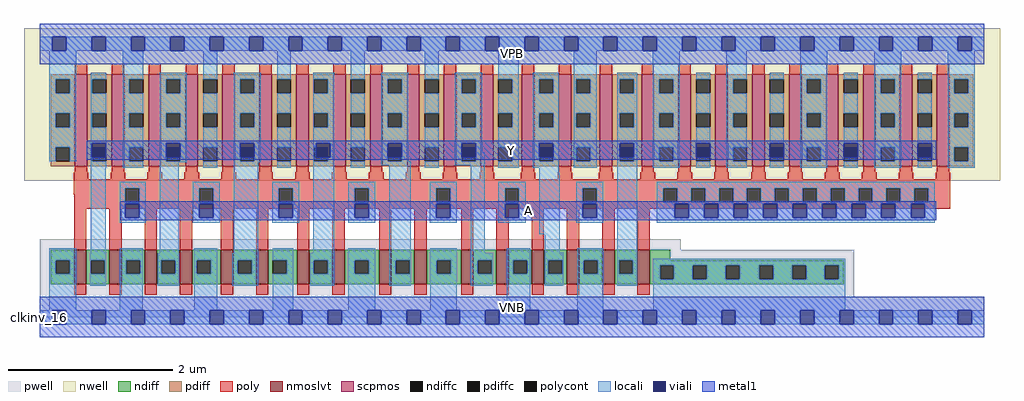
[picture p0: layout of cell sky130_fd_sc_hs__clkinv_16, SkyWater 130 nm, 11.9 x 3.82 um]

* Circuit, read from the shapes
.subckt sky130_fd_sc_hs__clkinv_16 A VGND VNB VPB VPWR Y
XM1 Y A VGND VNB sky130_fd_pr__nfet_01v8_lvt w=0.42 l=0.15 m=16
XM2 Y A VPWR VPB sky130_fd_pr__pfet_01v8 w=1.12 l=0.15 m=24
.ends

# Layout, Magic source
magic
tech sky130A
magscale 1 2
<< nwell >>
rect -38 332 2342 704
<< pwell >>
rect 1 164 1564 190
rect 1 49 1987 164
rect 0 0 2304 49
<< scpmos >>
rect 86 368 116 592
rect 176 368 206 592
rect 266 368 296 592
rect 356 368 386 592
rect 446 368 476 592
rect 536 368 566 592
rect 626 368 656 592
rect 716 368 746 592
rect 806 368 836 592
rect 896 368 926 592
rect 986 368 1016 592
rect 1076 368 1106 592
rect 1176 368 1206 592
rect 1266 368 1296 592
rect 1366 368 1396 592
rect 1468 368 1498 592
rect 1558 368 1588 592
rect 1648 368 1678 592
rect 1738 368 1768 592
rect 1828 368 1858 592
rect 1918 368 1948 592
rect 2008 368 2038 592
rect 2098 368 2128 592
rect 2188 368 2218 592
<< nmoslvt >>
rect 84 80 114 164
rect 170 80 200 164
rect 256 80 286 164
rect 342 80 372 164
rect 442 80 472 164
rect 528 80 558 164
rect 628 80 658 164
rect 714 80 744 164
rect 828 80 858 164
rect 914 80 944 164
rect 1028 80 1058 164
rect 1114 80 1144 164
rect 1200 80 1230 164
rect 1286 80 1316 164
rect 1372 80 1402 164
rect 1458 80 1488 164
<< ndiff >>
rect 27 139 84 164
rect 27 105 39 139
rect 73 105 84 139
rect 27 80 84 105
rect 114 139 170 164
rect 114 105 125 139
rect 159 105 170 139
rect 114 80 170 105
rect 200 139 256 164
rect 200 105 211 139
rect 245 105 256 139
rect 200 80 256 105
rect 286 139 342 164
rect 286 105 297 139
rect 331 105 342 139
rect 286 80 342 105
rect 372 139 442 164
rect 372 105 383 139
rect 417 105 442 139
rect 372 80 442 105
rect 472 139 528 164
rect 472 105 483 139
rect 517 105 528 139
rect 472 80 528 105
rect 558 139 628 164
rect 558 105 569 139
rect 603 105 628 139
rect 558 80 628 105
rect 658 139 714 164
rect 658 105 669 139
rect 703 105 714 139
rect 658 80 714 105
rect 744 139 828 164
rect 744 105 769 139
rect 803 105 828 139
rect 744 80 828 105
rect 858 139 914 164
rect 858 105 869 139
rect 903 105 914 139
rect 858 80 914 105
rect 944 139 1028 164
rect 944 105 969 139
rect 1003 105 1028 139
rect 944 80 1028 105
rect 1058 139 1114 164
rect 1058 105 1069 139
rect 1103 105 1114 139
rect 1058 80 1114 105
rect 1144 139 1200 164
rect 1144 105 1155 139
rect 1189 105 1200 139
rect 1144 80 1200 105
rect 1230 139 1286 164
rect 1230 105 1241 139
rect 1275 105 1286 139
rect 1230 80 1286 105
rect 1316 139 1372 164
rect 1316 105 1327 139
rect 1361 105 1372 139
rect 1316 80 1372 105
rect 1402 139 1458 164
rect 1402 105 1413 139
rect 1447 105 1458 139
rect 1402 80 1458 105
rect 1488 138 1538 164
rect 1488 126 1961 138
rect 1488 92 1513 126
rect 1547 92 1593 126
rect 1627 92 1673 126
rect 1707 92 1755 126
rect 1789 92 1835 126
rect 1869 92 1915 126
rect 1949 92 1961 126
rect 1488 80 1961 92
<< pdiff >>
rect 27 580 86 592
rect 27 546 39 580
rect 73 546 86 580
rect 27 497 86 546
rect 27 463 39 497
rect 73 463 86 497
rect 27 414 86 463
rect 27 380 39 414
rect 73 380 86 414
rect 27 368 86 380
rect 116 580 176 592
rect 116 546 129 580
rect 163 546 176 580
rect 116 497 176 546
rect 116 463 129 497
rect 163 463 176 497
rect 116 414 176 463
rect 116 380 129 414
rect 163 380 176 414
rect 116 368 176 380
rect 206 580 266 592
rect 206 546 219 580
rect 253 546 266 580
rect 206 497 266 546
rect 206 463 219 497
rect 253 463 266 497
rect 206 414 266 463
rect 206 380 219 414
rect 253 380 266 414
rect 206 368 266 380
rect 296 580 356 592
rect 296 546 309 580
rect 343 546 356 580
rect 296 497 356 546
rect 296 463 309 497
rect 343 463 356 497
rect 296 414 356 463
rect 296 380 309 414
rect 343 380 356 414
rect 296 368 356 380
rect 386 580 446 592
rect 386 546 399 580
rect 433 546 446 580
rect 386 497 446 546
rect 386 463 399 497
rect 433 463 446 497
rect 386 414 446 463
rect 386 380 399 414
rect 433 380 446 414
rect 386 368 446 380
rect 476 580 536 592
rect 476 546 489 580
rect 523 546 536 580
rect 476 497 536 546
rect 476 463 489 497
rect 523 463 536 497
rect 476 414 536 463
rect 476 380 489 414
rect 523 380 536 414
rect 476 368 536 380
rect 566 580 626 592
rect 566 546 579 580
rect 613 546 626 580
rect 566 497 626 546
rect 566 463 579 497
rect 613 463 626 497
rect 566 414 626 463
rect 566 380 579 414
rect 613 380 626 414
rect 566 368 626 380
rect 656 580 716 592
rect 656 546 669 580
rect 703 546 716 580
rect 656 497 716 546
rect 656 463 669 497
rect 703 463 716 497
rect 656 414 716 463
rect 656 380 669 414
rect 703 380 716 414
rect 656 368 716 380
rect 746 580 806 592
rect 746 546 759 580
rect 793 546 806 580
rect 746 497 806 546
rect 746 463 759 497
rect 793 463 806 497
rect 746 414 806 463
rect 746 380 759 414
rect 793 380 806 414
rect 746 368 806 380
rect 836 580 896 592
rect 836 546 849 580
rect 883 546 896 580
rect 836 497 896 546
rect 836 463 849 497
rect 883 463 896 497
rect 836 414 896 463
rect 836 380 849 414
rect 883 380 896 414
rect 836 368 896 380
rect 926 580 986 592
rect 926 546 939 580
rect 973 546 986 580
rect 926 497 986 546
rect 926 463 939 497
rect 973 463 986 497
rect 926 414 986 463
rect 926 380 939 414
rect 973 380 986 414
rect 926 368 986 380
rect 1016 580 1076 592
rect 1016 546 1029 580
rect 1063 546 1076 580
rect 1016 497 1076 546
rect 1016 463 1029 497
rect 1063 463 1076 497
rect 1016 414 1076 463
rect 1016 380 1029 414
rect 1063 380 1076 414
rect 1016 368 1076 380
rect 1106 580 1176 592
rect 1106 546 1119 580
rect 1153 546 1176 580
rect 1106 497 1176 546
rect 1106 463 1119 497
rect 1153 463 1176 497
rect 1106 414 1176 463
rect 1106 380 1119 414
rect 1153 380 1176 414
rect 1106 368 1176 380
rect 1206 580 1266 592
rect 1206 546 1219 580
rect 1253 546 1266 580
rect 1206 497 1266 546
rect 1206 463 1219 497
rect 1253 463 1266 497
rect 1206 414 1266 463
rect 1206 380 1219 414
rect 1253 380 1266 414
rect 1206 368 1266 380
rect 1296 580 1366 592
rect 1296 546 1309 580
rect 1343 546 1366 580
rect 1296 497 1366 546
rect 1296 463 1309 497
rect 1343 463 1366 497
rect 1296 414 1366 463
rect 1296 380 1309 414
rect 1343 380 1366 414
rect 1296 368 1366 380
rect 1396 580 1468 592
rect 1396 546 1415 580
rect 1449 546 1468 580
rect 1396 497 1468 546
rect 1396 463 1415 497
rect 1449 463 1468 497
rect 1396 414 1468 463
rect 1396 380 1415 414
rect 1449 380 1468 414
rect 1396 368 1468 380
rect 1498 580 1558 592
rect 1498 546 1511 580
rect 1545 546 1558 580
rect 1498 497 1558 546
rect 1498 463 1511 497
rect 1545 463 1558 497
rect 1498 414 1558 463
rect 1498 380 1511 414
rect 1545 380 1558 414
rect 1498 368 1558 380
rect 1588 580 1648 592
rect 1588 546 1601 580
rect 1635 546 1648 580
rect 1588 497 1648 546
rect 1588 463 1601 497
rect 1635 463 1648 497
rect 1588 414 1648 463
rect 1588 380 1601 414
rect 1635 380 1648 414
rect 1588 368 1648 380
rect 1678 580 1738 592
rect 1678 546 1691 580
rect 1725 546 1738 580
rect 1678 497 1738 546
rect 1678 463 1691 497
rect 1725 463 1738 497
rect 1678 414 1738 463
rect 1678 380 1691 414
rect 1725 380 1738 414
rect 1678 368 1738 380
rect 1768 580 1828 592
rect 1768 546 1781 580
rect 1815 546 1828 580
rect 1768 497 1828 546
rect 1768 463 1781 497
rect 1815 463 1828 497
rect 1768 414 1828 463
rect 1768 380 1781 414
rect 1815 380 1828 414
rect 1768 368 1828 380
rect 1858 580 1918 592
rect 1858 546 1871 580
rect 1905 546 1918 580
rect 1858 497 1918 546
rect 1858 463 1871 497
rect 1905 463 1918 497
rect 1858 414 1918 463
rect 1858 380 1871 414
rect 1905 380 1918 414
rect 1858 368 1918 380
rect 1948 580 2008 592
rect 1948 546 1961 580
rect 1995 546 2008 580
rect 1948 497 2008 546
rect 1948 463 1961 497
rect 1995 463 2008 497
rect 1948 414 2008 463
rect 1948 380 1961 414
rect 1995 380 2008 414
rect 1948 368 2008 380
rect 2038 580 2098 592
rect 2038 546 2051 580
rect 2085 546 2098 580
rect 2038 497 2098 546
rect 2038 463 2051 497
rect 2085 463 2098 497
rect 2038 414 2098 463
rect 2038 380 2051 414
rect 2085 380 2098 414
rect 2038 368 2098 380
rect 2128 580 2188 592
rect 2128 546 2141 580
rect 2175 546 2188 580
rect 2128 497 2188 546
rect 2128 463 2141 497
rect 2175 463 2188 497
rect 2128 414 2188 463
rect 2128 380 2141 414
rect 2175 380 2188 414
rect 2128 368 2188 380
rect 2218 580 2277 592
rect 2218 546 2231 580
rect 2265 546 2277 580
rect 2218 497 2277 546
rect 2218 463 2231 497
rect 2265 463 2277 497
rect 2218 414 2277 463
rect 2218 380 2231 414
rect 2265 380 2277 414
rect 2218 368 2277 380
<< ndiffc >>
rect 39 105 73 139
rect 125 105 159 139
rect 211 105 245 139
rect 297 105 331 139
rect 383 105 417 139
rect 483 105 517 139
rect 569 105 603 139
rect 669 105 703 139
rect 769 105 803 139
rect 869 105 903 139
rect 969 105 1003 139
rect 1069 105 1103 139
rect 1155 105 1189 139
rect 1241 105 1275 139
rect 1327 105 1361 139
rect 1413 105 1447 139
rect 1513 92 1547 126
rect 1593 92 1627 126
rect 1673 92 1707 126
rect 1755 92 1789 126
rect 1835 92 1869 126
rect 1915 92 1949 126
<< pdiffc >>
rect 39 546 73 580
rect 39 463 73 497
rect 39 380 73 414
rect 129 546 163 580
rect 129 463 163 497
rect 129 380 163 414
rect 219 546 253 580
rect 219 463 253 497
rect 219 380 253 414
rect 309 546 343 580
rect 309 463 343 497
rect 309 380 343 414
rect 399 546 433 580
rect 399 463 433 497
rect 399 380 433 414
rect 489 546 523 580
rect 489 463 523 497
rect 489 380 523 414
rect 579 546 613 580
rect 579 463 613 497
rect 579 380 613 414
rect 669 546 703 580
rect 669 463 703 497
rect 669 380 703 414
rect 759 546 793 580
rect 759 463 793 497
rect 759 380 793 414
rect 849 546 883 580
rect 849 463 883 497
rect 849 380 883 414
rect 939 546 973 580
rect 939 463 973 497
rect 939 380 973 414
rect 1029 546 1063 580
rect 1029 463 1063 497
rect 1029 380 1063 414
rect 1119 546 1153 580
rect 1119 463 1153 497
rect 1119 380 1153 414
rect 1219 546 1253 580
rect 1219 463 1253 497
rect 1219 380 1253 414
rect 1309 546 1343 580
rect 1309 463 1343 497
rect 1309 380 1343 414
rect 1415 546 1449 580
rect 1415 463 1449 497
rect 1415 380 1449 414
rect 1511 546 1545 580
rect 1511 463 1545 497
rect 1511 380 1545 414
rect 1601 546 1635 580
rect 1601 463 1635 497
rect 1601 380 1635 414
rect 1691 546 1725 580
rect 1691 463 1725 497
rect 1691 380 1725 414
rect 1781 546 1815 580
rect 1781 463 1815 497
rect 1781 380 1815 414
rect 1871 546 1905 580
rect 1871 463 1905 497
rect 1871 380 1905 414
rect 1961 546 1995 580
rect 1961 463 1995 497
rect 1961 380 1995 414
rect 2051 546 2085 580
rect 2051 463 2085 497
rect 2051 380 2085 414
rect 2141 546 2175 580
rect 2141 463 2175 497
rect 2141 380 2175 414
rect 2231 546 2265 580
rect 2231 463 2265 497
rect 2231 380 2265 414
<< poly >>
rect 86 592 116 618
rect 176 592 206 618
rect 266 592 296 618
rect 356 592 386 618
rect 446 592 476 618
rect 536 592 566 618
rect 626 592 656 618
rect 716 592 746 618
rect 806 592 836 618
rect 896 592 926 618
rect 986 592 1016 618
rect 1076 592 1106 618
rect 1176 592 1206 618
rect 1266 592 1296 618
rect 1366 592 1396 618
rect 1468 592 1498 618
rect 1558 592 1588 618
rect 1648 592 1678 618
rect 1738 592 1768 618
rect 1828 592 1858 618
rect 1918 592 1948 618
rect 2008 592 2038 618
rect 2098 592 2128 618
rect 2188 592 2218 618
rect 86 353 116 368
rect 176 353 206 368
rect 266 353 296 368
rect 356 353 386 368
rect 446 353 476 368
rect 536 353 566 368
rect 626 353 656 368
rect 716 353 746 368
rect 806 353 836 368
rect 896 353 926 368
rect 986 353 1016 368
rect 1076 353 1106 368
rect 1176 353 1206 368
rect 1266 353 1296 368
rect 1366 353 1396 368
rect 1468 353 1498 368
rect 1558 353 1588 368
rect 1648 353 1678 368
rect 1738 353 1768 368
rect 1828 353 1858 368
rect 1918 353 1948 368
rect 2008 353 2038 368
rect 2098 353 2128 368
rect 2188 353 2218 368
rect 83 336 119 353
rect 173 336 209 353
rect 263 336 299 353
rect 353 336 389 353
rect 443 336 479 353
rect 533 336 569 353
rect 623 336 659 353
rect 713 336 749 353
rect 803 336 839 353
rect 893 336 929 353
rect 983 336 1019 353
rect 1073 336 1109 353
rect 1173 336 1209 353
rect 1263 336 1299 353
rect 1363 336 1399 353
rect 1465 336 1501 353
rect 1555 336 1591 353
rect 1645 336 1681 353
rect 1735 336 1771 353
rect 1825 336 1861 353
rect 1915 336 1951 353
rect 2005 336 2041 353
rect 2095 336 2131 353
rect 2185 336 2221 353
rect 83 314 2221 336
rect 83 300 209 314
rect 84 280 209 300
rect 243 280 389 314
rect 423 280 583 314
rect 617 280 769 314
rect 803 280 967 314
rect 1001 280 1135 314
rect 1169 280 1325 314
rect 1359 280 1521 314
rect 1555 280 1589 314
rect 1623 280 1657 314
rect 1691 280 1725 314
rect 1759 280 1793 314
rect 1827 280 1861 314
rect 1895 280 1929 314
rect 1963 280 1997 314
rect 2031 280 2065 314
rect 2099 280 2133 314
rect 2167 280 2221 314
rect 84 264 2221 280
rect 84 164 114 264
rect 170 164 200 264
rect 256 164 286 264
rect 342 164 372 264
rect 442 164 472 264
rect 528 164 558 264
rect 628 164 658 264
rect 714 164 744 264
rect 828 164 858 264
rect 914 164 944 264
rect 1028 164 1058 264
rect 1114 164 1144 264
rect 1200 164 1230 264
rect 1286 164 1316 264
rect 1372 164 1402 264
rect 1458 164 1488 264
rect 84 54 114 80
rect 170 54 200 80
rect 256 54 286 80
rect 342 54 372 80
rect 442 54 472 80
rect 528 54 558 80
rect 628 54 658 80
rect 714 54 744 80
rect 828 54 858 80
rect 914 54 944 80
rect 1028 54 1058 80
rect 1114 54 1144 80
rect 1200 54 1230 80
rect 1286 54 1316 80
rect 1372 54 1402 80
rect 1458 54 1488 80
<< polycont >>
rect 209 280 243 314
rect 389 280 423 314
rect 583 280 617 314
rect 769 280 803 314
rect 967 280 1001 314
rect 1135 280 1169 314
rect 1325 280 1359 314
rect 1521 280 1555 314
rect 1589 280 1623 314
rect 1657 280 1691 314
rect 1725 280 1759 314
rect 1793 280 1827 314
rect 1861 280 1895 314
rect 1929 280 1963 314
rect 1997 280 2031 314
rect 2065 280 2099 314
rect 2133 280 2167 314
<< locali >>
rect 0 649 31 683
rect 65 649 127 683
rect 161 649 223 683
rect 257 649 319 683
rect 353 649 415 683
rect 449 649 511 683
rect 545 649 607 683
rect 641 649 703 683
rect 737 649 799 683
rect 833 649 895 683
rect 929 649 991 683
rect 1025 649 1087 683
rect 1121 649 1183 683
rect 1217 649 1279 683
rect 1313 649 1375 683
rect 1409 649 1471 683
rect 1505 649 1567 683
rect 1601 649 1663 683
rect 1697 649 1759 683
rect 1793 649 1855 683
rect 1889 649 1951 683
rect 1985 649 2047 683
rect 2081 649 2143 683
rect 2177 649 2239 683
rect 2273 649 2304 683
rect 23 580 89 649
rect 23 546 39 580
rect 73 546 89 580
rect 23 497 89 546
rect 23 463 39 497
rect 73 463 89 497
rect 23 414 89 463
rect 23 380 39 414
rect 73 380 89 414
rect 125 580 163 596
rect 125 546 129 580
rect 125 497 163 546
rect 125 463 129 497
rect 125 424 163 463
rect 125 390 127 424
rect 161 414 163 424
rect 125 380 129 390
rect 125 364 163 380
rect 203 580 253 649
rect 203 546 219 580
rect 203 497 253 546
rect 203 463 219 497
rect 203 414 253 463
rect 203 380 219 414
rect 203 364 253 380
rect 293 580 359 596
rect 293 546 309 580
rect 343 546 359 580
rect 293 497 359 546
rect 293 463 309 497
rect 343 463 359 497
rect 293 424 359 463
rect 293 380 309 424
rect 343 380 359 424
rect 293 377 359 380
rect 399 580 433 649
rect 399 497 433 546
rect 399 414 433 463
rect 23 139 89 168
rect 125 155 161 364
rect 195 314 259 330
rect 195 280 209 314
rect 243 280 259 314
rect 195 276 259 280
rect 195 242 209 276
rect 243 242 259 276
rect 195 230 259 242
rect 23 105 39 139
rect 73 105 89 139
rect 23 17 89 105
rect 123 139 161 155
rect 123 105 125 139
rect 159 105 161 139
rect 123 76 161 105
rect 195 139 252 168
rect 293 155 339 377
rect 399 364 433 380
rect 473 580 539 596
rect 473 546 489 580
rect 523 546 539 580
rect 473 497 539 546
rect 473 463 489 497
rect 523 463 539 497
rect 473 424 539 463
rect 473 380 489 424
rect 523 380 539 424
rect 473 377 539 380
rect 579 580 613 649
rect 579 497 613 546
rect 579 414 613 463
rect 373 314 439 330
rect 373 280 389 314
rect 423 280 439 314
rect 373 276 439 280
rect 373 242 389 276
rect 423 242 439 276
rect 373 230 439 242
rect 195 105 211 139
rect 245 105 252 139
rect 195 17 252 105
rect 288 139 340 155
rect 288 105 297 139
rect 331 105 340 139
rect 288 76 340 105
rect 377 139 433 168
rect 473 155 533 377
rect 579 364 613 380
rect 667 580 719 596
rect 667 546 669 580
rect 703 546 719 580
rect 667 497 719 546
rect 667 463 669 497
rect 703 463 719 497
rect 667 424 719 463
rect 667 414 675 424
rect 667 380 669 414
rect 709 390 719 424
rect 703 380 719 390
rect 567 314 633 330
rect 567 280 583 314
rect 617 280 633 314
rect 567 276 633 280
rect 567 242 583 276
rect 617 242 633 276
rect 567 230 633 242
rect 377 105 383 139
rect 417 105 433 139
rect 377 17 433 105
rect 470 139 533 155
rect 470 105 483 139
rect 517 105 533 139
rect 470 76 533 105
rect 569 139 619 168
rect 667 155 719 380
rect 759 580 793 649
rect 759 497 793 546
rect 759 414 793 463
rect 759 364 793 380
rect 833 580 899 596
rect 833 546 849 580
rect 883 546 899 580
rect 833 497 899 546
rect 833 463 849 497
rect 883 463 899 497
rect 833 424 899 463
rect 833 380 849 424
rect 883 380 899 424
rect 939 580 973 649
rect 939 497 973 546
rect 939 414 973 463
rect 833 370 905 380
rect 753 314 819 330
rect 753 280 769 314
rect 803 280 819 314
rect 753 276 819 280
rect 753 242 769 276
rect 803 242 819 276
rect 753 230 819 242
rect 603 105 619 139
rect 569 17 619 105
rect 660 139 719 155
rect 660 105 669 139
rect 703 105 719 139
rect 660 76 719 105
rect 753 139 819 168
rect 753 105 769 139
rect 803 105 819 139
rect 753 17 819 105
rect 853 139 905 370
rect 939 364 973 380
rect 1013 580 1079 596
rect 1013 546 1029 580
rect 1063 546 1079 580
rect 1013 497 1079 546
rect 1013 463 1029 497
rect 1063 463 1079 497
rect 1013 424 1079 463
rect 1013 380 1029 424
rect 1063 402 1079 424
rect 1119 580 1169 649
rect 1153 546 1169 580
rect 1119 497 1169 546
rect 1153 463 1169 497
rect 1119 414 1169 463
rect 1063 380 1085 402
rect 1013 370 1085 380
rect 951 314 1017 330
rect 951 280 967 314
rect 1001 280 1017 314
rect 951 276 1017 280
rect 951 242 967 276
rect 1001 242 1017 276
rect 951 230 1017 242
rect 853 105 869 139
rect 903 105 905 139
rect 853 76 905 105
rect 953 139 1017 168
rect 953 105 969 139
rect 1003 105 1017 139
rect 953 17 1017 105
rect 1051 155 1085 370
rect 1153 380 1169 414
rect 1119 364 1169 380
rect 1203 580 1266 596
rect 1203 546 1219 580
rect 1253 546 1266 580
rect 1203 497 1266 546
rect 1203 463 1219 497
rect 1253 463 1266 497
rect 1203 424 1266 463
rect 1203 380 1219 424
rect 1253 380 1266 424
rect 1203 364 1266 380
rect 1302 580 1359 649
rect 1302 546 1309 580
rect 1343 546 1359 580
rect 1302 497 1359 546
rect 1302 463 1309 497
rect 1343 463 1359 497
rect 1302 414 1359 463
rect 1302 380 1309 414
rect 1343 380 1359 414
rect 1302 364 1359 380
rect 1409 580 1458 596
rect 1409 546 1415 580
rect 1449 546 1458 580
rect 1409 497 1458 546
rect 1409 463 1415 497
rect 1449 463 1458 497
rect 1409 424 1458 463
rect 1409 380 1415 424
rect 1449 380 1458 424
rect 1219 352 1266 364
rect 1119 314 1185 330
rect 1119 280 1135 314
rect 1169 280 1185 314
rect 1119 276 1185 280
rect 1119 242 1135 276
rect 1169 242 1185 276
rect 1119 230 1185 242
rect 1219 202 1268 352
rect 1309 314 1375 330
rect 1309 280 1325 314
rect 1359 280 1375 314
rect 1309 276 1375 280
rect 1309 242 1325 276
rect 1359 242 1375 276
rect 1309 230 1375 242
rect 1051 139 1105 155
rect 1051 105 1069 139
rect 1103 105 1105 139
rect 1051 76 1105 105
rect 1139 139 1196 168
rect 1139 105 1155 139
rect 1189 105 1196 139
rect 1139 17 1196 105
rect 1232 157 1268 202
rect 1232 139 1277 157
rect 1232 105 1241 139
rect 1275 105 1277 139
rect 1232 76 1277 105
rect 1311 139 1375 168
rect 1311 105 1327 139
rect 1361 105 1375 139
rect 1311 17 1375 105
rect 1409 139 1458 380
rect 1495 580 1561 649
rect 1495 546 1511 580
rect 1545 546 1561 580
rect 1495 497 1561 546
rect 1495 463 1511 497
rect 1545 463 1561 497
rect 1495 414 1561 463
rect 1495 380 1511 414
rect 1545 380 1561 414
rect 1495 364 1561 380
rect 1601 580 1635 596
rect 1601 497 1635 546
rect 1601 424 1635 463
rect 1601 364 1635 380
rect 1675 580 1725 649
rect 1675 546 1691 580
rect 1675 497 1725 546
rect 1675 463 1691 497
rect 1675 414 1725 463
rect 1675 380 1691 414
rect 1675 364 1725 380
rect 1781 580 1815 596
rect 1781 497 1815 546
rect 1781 424 1815 463
rect 1781 364 1815 380
rect 1855 580 1921 649
rect 1855 546 1871 580
rect 1905 546 1921 580
rect 1855 497 1921 546
rect 1855 463 1871 497
rect 1905 463 1921 497
rect 1855 414 1921 463
rect 1855 380 1871 414
rect 1905 380 1921 414
rect 1855 364 1921 380
rect 1961 580 1995 596
rect 1961 497 1995 546
rect 1961 424 1995 463
rect 1961 364 1995 380
rect 2035 580 2101 649
rect 2035 546 2051 580
rect 2085 546 2101 580
rect 2035 497 2101 546
rect 2035 463 2051 497
rect 2085 463 2101 497
rect 2035 414 2101 463
rect 2035 380 2051 414
rect 2085 380 2101 414
rect 2035 364 2101 380
rect 2141 580 2175 596
rect 2141 497 2175 546
rect 2141 424 2175 463
rect 2141 364 2175 380
rect 2215 580 2281 649
rect 2215 546 2231 580
rect 2265 546 2281 580
rect 2215 497 2281 546
rect 2215 463 2231 497
rect 2265 463 2281 497
rect 2215 414 2281 463
rect 2215 380 2231 414
rect 2265 380 2281 414
rect 2215 364 2281 380
rect 1505 314 2183 330
rect 1505 280 1521 314
rect 1555 280 1589 314
rect 1623 280 1657 314
rect 1691 280 1725 314
rect 1759 280 1793 314
rect 1827 280 1861 314
rect 1895 280 1929 314
rect 1963 280 1997 314
rect 2031 280 2065 314
rect 2099 280 2133 314
rect 2167 280 2183 314
rect 1505 276 2183 280
rect 1505 242 1549 276
rect 1583 242 1621 276
rect 1655 242 1693 276
rect 1727 242 1765 276
rect 1799 242 1837 276
rect 1871 242 1909 276
rect 1943 242 1981 276
rect 2015 242 2053 276
rect 2087 242 2125 276
rect 2159 242 2183 276
rect 1505 230 2183 242
rect 1409 105 1413 139
rect 1447 105 1458 139
rect 1409 76 1458 105
rect 1497 126 1965 142
rect 1497 92 1513 126
rect 1547 92 1593 126
rect 1627 92 1673 126
rect 1707 92 1755 126
rect 1789 92 1835 126
rect 1869 92 1915 126
rect 1949 92 1965 126
rect 1497 17 1965 92
rect 0 -17 31 17
rect 65 -17 127 17
rect 161 -17 223 17
rect 257 -17 319 17
rect 353 -17 415 17
rect 449 -17 511 17
rect 545 -17 607 17
rect 641 -17 703 17
rect 737 -17 799 17
rect 833 -17 895 17
rect 929 -17 991 17
rect 1025 -17 1087 17
rect 1121 -17 1183 17
rect 1217 -17 1279 17
rect 1313 -17 1375 17
rect 1409 -17 1471 17
rect 1505 -17 1567 17
rect 1601 -17 1663 17
rect 1697 -17 1759 17
rect 1793 -17 1855 17
rect 1889 -17 1951 17
rect 1985 -17 2047 17
rect 2081 -17 2143 17
rect 2177 -17 2239 17
rect 2273 -17 2304 17
<< viali >>
rect 31 649 65 683
rect 127 649 161 683
rect 223 649 257 683
rect 319 649 353 683
rect 415 649 449 683
rect 511 649 545 683
rect 607 649 641 683
rect 703 649 737 683
rect 799 649 833 683
rect 895 649 929 683
rect 991 649 1025 683
rect 1087 649 1121 683
rect 1183 649 1217 683
rect 1279 649 1313 683
rect 1375 649 1409 683
rect 1471 649 1505 683
rect 1567 649 1601 683
rect 1663 649 1697 683
rect 1759 649 1793 683
rect 1855 649 1889 683
rect 1951 649 1985 683
rect 2047 649 2081 683
rect 2143 649 2177 683
rect 2239 649 2273 683
rect 127 414 161 424
rect 127 390 129 414
rect 129 390 161 414
rect 309 414 343 424
rect 309 390 343 414
rect 209 242 243 276
rect 489 414 523 424
rect 489 390 523 414
rect 389 242 423 276
rect 675 414 709 424
rect 675 390 703 414
rect 703 390 709 414
rect 583 242 617 276
rect 849 414 883 424
rect 849 390 883 414
rect 769 242 803 276
rect 1029 414 1063 424
rect 1029 390 1063 414
rect 967 242 1001 276
rect 1219 414 1253 424
rect 1219 390 1253 414
rect 1415 414 1449 424
rect 1415 390 1449 414
rect 1135 242 1169 276
rect 1325 242 1359 276
rect 1601 414 1635 424
rect 1601 390 1635 414
rect 1781 414 1815 424
rect 1781 390 1815 414
rect 1961 414 1995 424
rect 1961 390 1995 414
rect 2141 414 2175 424
rect 2141 390 2175 414
rect 1549 242 1583 276
rect 1621 242 1655 276
rect 1693 242 1727 276
rect 1765 242 1799 276
rect 1837 242 1871 276
rect 1909 242 1943 276
rect 1981 242 2015 276
rect 2053 242 2087 276
rect 2125 242 2159 276
rect 31 -17 65 17
rect 127 -17 161 17
rect 223 -17 257 17
rect 319 -17 353 17
rect 415 -17 449 17
rect 511 -17 545 17
rect 607 -17 641 17
rect 703 -17 737 17
rect 799 -17 833 17
rect 895 -17 929 17
rect 991 -17 1025 17
rect 1087 -17 1121 17
rect 1183 -17 1217 17
rect 1279 -17 1313 17
rect 1375 -17 1409 17
rect 1471 -17 1505 17
rect 1567 -17 1601 17
rect 1663 -17 1697 17
rect 1759 -17 1793 17
rect 1855 -17 1889 17
rect 1951 -17 1985 17
rect 2047 -17 2081 17
rect 2143 -17 2177 17
rect 2239 -17 2273 17
<< metal1 >>
rect 0 683 2304 715
rect 0 649 31 683
rect 65 649 127 683
rect 161 649 223 683
rect 257 649 319 683
rect 353 649 415 683
rect 449 649 511 683
rect 545 649 607 683
rect 641 649 703 683
rect 737 649 799 683
rect 833 649 895 683
rect 929 649 991 683
rect 1025 649 1087 683
rect 1121 649 1183 683
rect 1217 649 1279 683
rect 1313 649 1375 683
rect 1409 649 1471 683
rect 1505 649 1567 683
rect 1601 649 1663 683
rect 1697 649 1759 683
rect 1793 649 1855 683
rect 1889 649 1951 683
rect 1985 649 2047 683
rect 2081 649 2143 683
rect 2177 649 2239 683
rect 2273 649 2304 683
rect 0 617 2304 649
rect 115 424 2187 430
rect 115 390 127 424
rect 161 390 309 424
rect 343 390 489 424
rect 523 390 675 424
rect 709 390 849 424
rect 883 390 1029 424
rect 1063 390 1219 424
rect 1253 390 1415 424
rect 1449 390 1601 424
rect 1635 390 1781 424
rect 1815 390 1961 424
rect 1995 390 2141 424
rect 2175 390 2187 424
rect 115 384 2187 390
rect 197 276 2187 282
rect 197 242 209 276
rect 243 242 389 276
rect 423 242 583 276
rect 617 242 769 276
rect 803 242 967 276
rect 1001 242 1135 276
rect 1169 242 1325 276
rect 1359 242 1549 276
rect 1583 242 1621 276
rect 1655 242 1693 276
rect 1727 242 1765 276
rect 1799 242 1837 276
rect 1871 242 1909 276
rect 1943 242 1981 276
rect 2015 242 2053 276
rect 2087 242 2125 276
rect 2159 242 2187 276
rect 197 236 2187 242
rect 0 17 2304 49
rect 0 -17 31 17
rect 65 -17 127 17
rect 161 -17 223 17
rect 257 -17 319 17
rect 353 -17 415 17
rect 449 -17 511 17
rect 545 -17 607 17
rect 641 -17 703 17
rect 737 -17 799 17
rect 833 -17 895 17
rect 929 -17 991 17
rect 1025 -17 1087 17
rect 1121 -17 1183 17
rect 1217 -17 1279 17
rect 1313 -17 1375 17
rect 1409 -17 1471 17
rect 1505 -17 1567 17
rect 1601 -17 1663 17
rect 1697 -17 1759 17
rect 1793 -17 1855 17
rect 1889 -17 1951 17
rect 1985 -17 2047 17
rect 2081 -17 2143 17
rect 2177 -17 2239 17
rect 2273 -17 2304 17
rect 0 -49 2304 -17
<< labels >>
rlabel comment s 0 0 0 0 4 clkinv_16
flabel pwell s 0 0 2304 49 0 FreeSans 200 0 0 0 VNB
port 3 nsew ground bidirectional
flabel nwell s 0 617 2304 666 0 FreeSans 200 0 0 0 VPB
port 4 nsew power bidirectional
flabel metal1 s 0 617 2304 666 0 FreeSans 340 0 0 0 VPWR
port 5 nsew power bidirectional
flabel metal1 s 0 0 2304 49 0 FreeSans 340 0 0 0 VGND
port 2 nsew ground bidirectional
flabel metal1 s 197 236 2187 282 0 FreeSans 400 0 0 0 A
port 1 nsew signal input
flabel metal1 s 115 384 2187 430 0 FreeSans 400 0 0 0 Y
port 6 nsew signal output
<< properties >>
string LEFsite unit
string LEFclass CORE
string FIXED_BBOX 0 0 2304 666
string GDS_FILE $PDKPATH/libs.ref/sky130_fd_sc_hs/gds/sky130_fd_sc_hs.gds
string LEFsymmetry X Y
string GDS_END 2782270
string GDS_START 2763858
<< end >>
